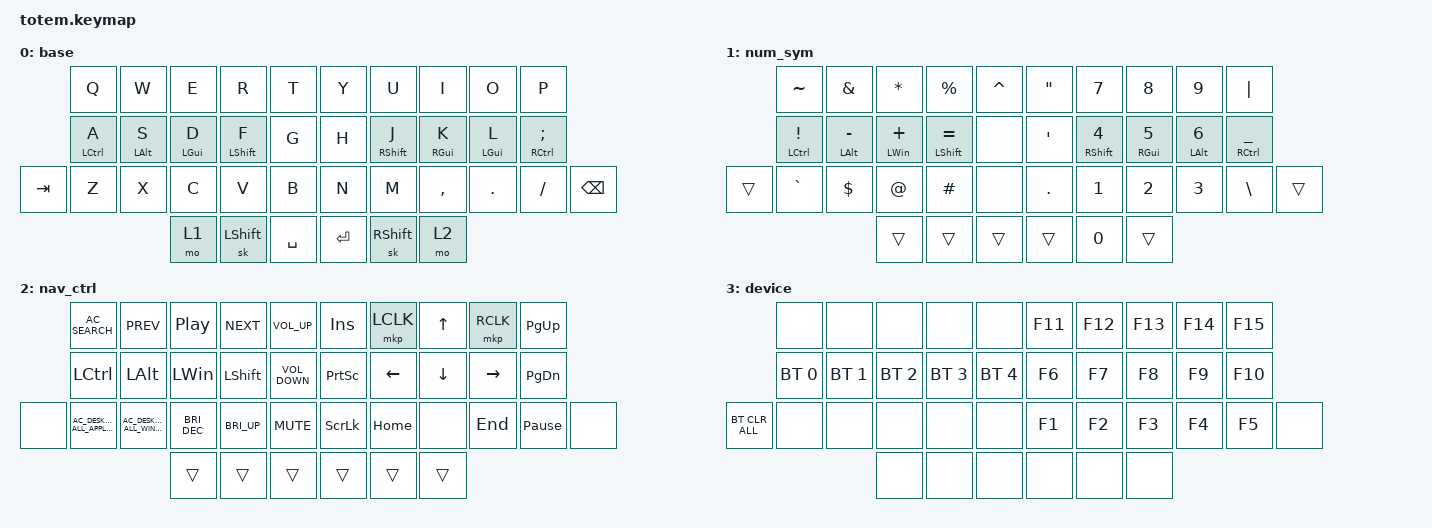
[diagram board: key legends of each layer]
//
//                                                        ▀▀▀▀▀     ▀▀▀▀▀          ▀▀█▀▀
//                                                        ▄▀▀▀▄  ▄  ▄▀▀▀▄  ▄  ▄▀▀▀▄  █  ▄▀▀▀▄
//                                                        █   █  █  █   █  █  █   █  █  █   █
//                                                         ▀▀▀   █   ▀▀▀   █   ▀▀▀   ▀   ▀▀▀
//                                                               █      ▄▄▄█▄▄▄    █   █  
//                                                               ▀      █  █  █     █▄█
//                                                             ▀▀▀▀▀    █  █  █      ▀
//                                                                      ▀  ▀  ▀
//
// ▄▄▄▄▄▄▄▄▄▄▄▄▄▄▄▄▄▄▄▄▄▄▄▄▄▄▄▄▄▄▄▄▄▄▄▄▄▄▄▄▄▄▄▄▄▄▄▄▄▄▄▄▄▄▄▄▄▄▄▄▄▄▄▄▄▄▄▄▄▄▄▄▄▄▄▄▄▄▄▄▄▄▄▄▄▄▄▄▄▄▄▄▄▄▄▄▄▄▄▄▄▄▄▄▄▄▄▄▄▄▄▄▄▄▄▄▄▄▄▄▄▄▄▄▄▄▄▄▄▄▄▄▄▄▄▄▄▄▄▄▄▄▄▄▄▄▄▄▄

#include <behaviors.dtsi>
#include <dt-bindings/zmk/bt.h>
#include <dt-bindings/zmk/keys.h>
#include <dt-bindings/zmk/pointing.h>

/ {
    combos {
        compatible = "zmk,combos";

        Left_Parenthesis {
            bindings = <&kp LEFT_PARENTHESIS>;
            key-positions = <3 2>;
            layers = <0 1>;
        };

        Left_Bracket {
            bindings = <&kp LEFT_BRACKET>;
            key-positions = <13 12>;
            layers = <0 1>;
        };

        Left_Brace {
            bindings = <&kp LEFT_BRACE>;
            key-positions = <24 23>;
            layers = <0 1>;
        };

        Right_Parenthesis {
            bindings = <&kp RIGHT_PARENTHESIS>;
            key-positions = <6 7>;
            layers = <0 1>;
        };

        Right_Bracket {
            bindings = <&kp RIGHT_BRACKET>;
            key-positions = <16 17>;
            layers = <0 1>;
        };

        Right_Brace {
            bindings = <&kp RIGHT_BRACE>;
            key-positions = <27 28>;
            layers = <0 1>;
        };

        Less_Than {
            bindings = <&kp LESS_THAN>;
            key-positions = <12 11>;
            layers = <0 1>;
        };

        Greater_Than {
            bindings = <&kp GREATER_THAN>;
            key-positions = <17 18>;
            layers = <0 1>;
        };

        Escape {
            bindings = <&kp ESCAPE>;
            key-positions = <0 1>;
            layers = <0 1 2>;
        };

        Caps_Lock {
            bindings = <&kp CAPSLOCK>;
            key-positions = <33 36>;
            layers = <0>;
        };

        Quotes {
            bindings = <&kp SINGLE_QUOTE>;
            key-positions = <29 30>;
            layers = <0 1>;
        };
    };

    behaviors {
        mo_tog: momentary_hold_toggle_tap {
            compatible = "zmk,behavior-hold-tap";
            label = "momentary hold toggle tap";
            bindings = <&mo>, <&tog>;

            #binding-cells = <2>;
            tapping-term-ms = <200>;
        };

        hml: left_homerow_mods {
            compatible = "zmk,behavior-hold-tap";
            label = "left home row mods";
            bindings = <&kp>, <&kp>;

            #binding-cells = <2>;
            tapping-term-ms = <280>;
            quick-tap-ms = <175>;
            require-prior-idle-ms = <125>;
            flavor = "balanced";
            hold-trigger-on-release;
            hold-trigger-key-positions = <20 21 10 0 1 2 3 4 11 12 13 14 22 23 24 25 32 33 34>;
        };

        hmr: right_homerow_mods {
            compatible = "zmk,behavior-hold-tap";
            label = "right home row mods";
            bindings = <&kp>, <&kp>;

            #binding-cells = <2>;
            tapping-term-ms = <280>;
            quick-tap-ms = <175>;
            require-prior-idle-ms = <125>;
            flavor = "balanced";
            hold-trigger-on-release;
            hold-trigger-key-positions = <5 6 7 8 9 15 16 17 18 19 26 27 28 29 30 31 35 36 37>;
        };
    };

    keymap {
        compatible = "zmk,keymap";

        base {
            bindings = <
         &kp Q                &kp W            &kp E            &kp R              &kp T        &kp Y      &kp U               &kp I             &kp O            &kp P
         &hml LEFT_CONTROL A  &hml LEFT_ALT S  &hml LEFT_GUI D  &hml LEFT_SHIFT F  &kp G        &kp H      &hmr RIGHT_SHIFT J  &hmr RIGHT_GUI K  &hmr LEFT_GUI L  &hmr RIGHT_CONTROL SEMICOLON
&kp TAB  &kp Z                &kp X            &kp C            &kp V              &kp B        &kp N      &kp M               &kp COMMA         &kp DOT          &kp FSLH                      &kp BACKSPACE
                                               &mo 1            &sk LEFT_SHIFT     &kp SPACE    &kp ENTER  &sk RIGHT_SHIFT     &mo 2
            >;
        };

        num_sym {
            bindings = <
        &kp TILDE                      &kp AMPERSAND        &kp ASTERISK        &kp PERCENT            &kp CARET    &kp DOUBLE_QUOTES  &kp N7               &kp N8             &kp N9            &kp PIPE
        &hml LEFT_CONTROL EXCLAMATION  &hml LEFT_ALT MINUS  &hml LEFT_WIN PLUS  &hml LEFT_SHIFT EQUAL  &none        &kp APOSTROPHE     &hmr RIGHT_SHIFT N4  &hmr RIGHT_GUI N5  &hmr LEFT_ALT N6  &hmr RIGHT_CONTROL UNDER
&trans  &kp GRAVE                      &kp DOLLAR           &kp AT              &kp HASH               &none        &kp DOT            &kp N1               &kp N2             &kp N3            &kp BACKSLASH             &trans
                                                            &trans              &trans                 &trans       &trans             &kp N0               &trans
            >;
        };

        nav_ctrl {
            bindings = <
       &kp C_AC_SEARCH                         &kp C_PREV                         &kp C_PLAY_PAUSE      &kp C_NEXT      &kp C_VOLUME_UP      &kp INS          &mkp LCLK       &kp UP_ARROW    &mkp RCLK        &kp PG_UP
       &kp LCTRL                               &kp LEFT_ALT                       &kp LEFT_WIN          &kp LEFT_SHIFT  &kp C_VOLUME_DOWN    &kp PRINTSCREEN  &kp LEFT_ARROW  &kp DOWN_ARROW  &kp RIGHT_ARROW  &kp PAGE_DOWN
&none  &kp C_AC_DESKTOP_SHOW_ALL_APPLICATIONS  &kp C_AC_DESKTOP_SHOW_ALL_WINDOWS  &kp C_BRIGHTNESS_DEC  &kp C_BRI_UP    &kp K_MUTE           &kp SCROLLLOCK   &kp HOME        &none           &kp END          &kp PAUSE_BREAK  &none
                                                                                  &trans                &trans          &trans               &trans           &trans          &trans
            >;
        };

        device {
            bindings = <
                &none         &none         &none         &none         &none           &kp F11  &kp F12  &kp F13  &kp F14  &kp F15
                &bt BT_SEL 0  &bt BT_SEL 1  &bt BT_SEL 2  &bt BT_SEL 3  &bt BT_SEL 4    &kp F6   &kp F7   &kp F8   &kp F9   &kp F10
&bt BT_CLR_ALL  &none         &none         &none         &none         &none           &kp F1   &kp F2   &kp F3   &kp F4   &kp F5   &none
                                            &none         &none         &none           &none    &none    &none
            >;
        };
    };

    conditional_layers {
        compatible = "zmk,conditional-layers";

        device {
            if-layers = <1 2>;
            then-layer = <3>;
        };
    };
};
